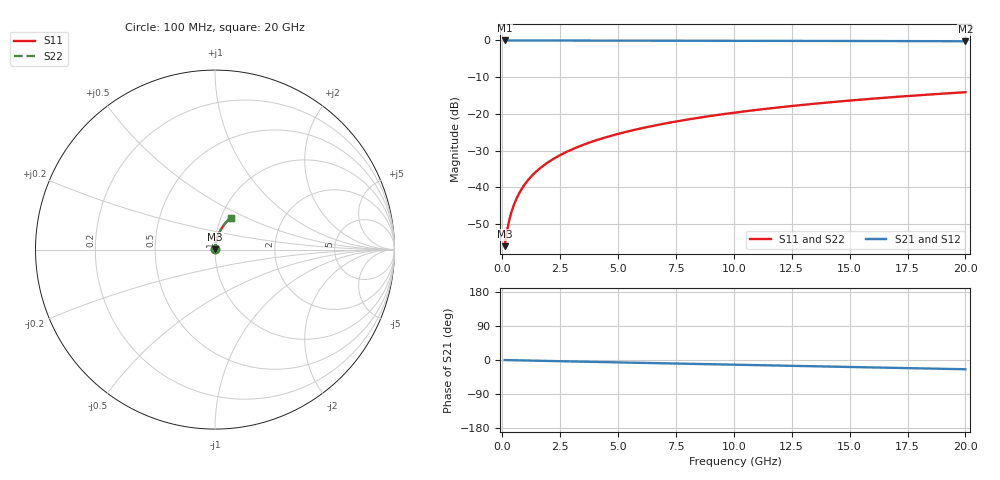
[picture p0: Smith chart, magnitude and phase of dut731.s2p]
! Touchstone file exported from HFSS 2026.1.0
!  File:  C:/ffzhzh/LocalFiles/Ansys_Project_Files/temp_train_BSMRDL_731_1783168546_22436.aedt
!  Generated:  08:36:58 PM Jul  4, 2026
!  Design:  BSMRDL
!  Project:  temp_train_BSMRDL_731_1783168546_22436
! Variables:
!  h_bsmrdl = 5.78um
!  h_ox = 20um
!  h_rdl = 5um
!  h_sub = 80um
!  h_tmrdl = 5um
!  h_tsv = 80um
!  h_via = 3um
!  l_bsmrdl = 355.99um
!  l_sub = 755.99um
!  l_tmrdl = 200um
!  m_sub = 200um
!  pitch = 48.76um
!  r_tsv = 6um
!  s_tmrdl = 10um
!  w_bsmrdl = 26um
!  w_sub = 500um
!  w_tmrdl = 12um
!  x_tsv_center1 = 206um
!  x_tsv_center2 = 587.99um
!  x_tsv_center3 = 799.99um
!  x_tsv_center4 = 1181.98um
!  x_tsv_center5 = 1393.98um
!  x_tsv_center6 = 1775.97um
# GHz S MA R 50.000000
! Terminal data exported
! Port[1] = BSM_RDL1_1_T1
! Port[2] = BSM_RDL1_1_T2
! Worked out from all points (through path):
!   200 points, 100 MHz to 20 GHz, reference 50 ohm
!   highest |S21| = -0.01 dB at 100 MHz (marker M1); lowest = -0.2 dB at 20 GHz (marker M2)
!   group delay of S21, straight-line fit = 3.38 ps
!   lowest |S11| = -56.0 dB at 100 MHz (marker M3), VSWR 1.00, Z = 50.1 + j0.123 ohm
!   |S11| at or under -10 dB: start of sweep to end of sweep
!   |S22| runs from -56.0 to -14.1 dB; largest |S21 - S12| = 3.6e-15
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0.1  0.00159 50.4  0.999 -0.1  0.999 -0.1  0.00159 50.4
! Gamma 0 0 0 0
! Port Impedance 50 0 50 0
0.2  0.002536 67.3  0.9989 -0.3  0.9989 -0.3  0.002538 67.4
0.3  0.003593 74.0  0.9988 -0.4  0.9988 -0.4  0.003595 74.1
0.4  0.004686 77.4  0.9988 -0.5  0.9988 -0.5  0.004689 77.5
0.5  0.005793 79.4  0.9987 -0.6  0.9987 -0.6  0.005796 79.4
0.7  0.008021 81.5  0.9986 -0.9  0.9986 -0.9  0.008024 81.5
0.8  0.009135 82.0  0.9986 -1.0  0.9986 -1.0  0.009138 82.0
1  0.01136 82.7  0.9985 -1.3  0.9985 -1.3  0.01136 82.7
1.2  0.01357 83.0  0.9984 -1.5  0.9984 -1.5  0.01357 83.0
1.4  0.01576 83.1  0.9983 -1.8  0.9983 -1.8  0.01576 83.1
1.7  0.01902 83.1  0.9981 -2.2  0.9981 -2.2  0.01902 83.1
2  0.02225 82.9  0.9979 -2.5  0.9979 -2.5  0.02225 82.9
2.7  0.02968 82.4  0.9974 -3.4  0.9974 -3.4  0.02968 82.4
3.5  0.03805 81.8  0.9968 -4.4  0.9968 -4.4  0.03805 81.8
4.2  0.04531 81.1  0.9962 -5.3  0.9962 -5.3  0.04531 81.1
5  0.05354 80.4  0.9954 -6.3  0.9954 -6.3  0.05354 80.4
6.8  0.07187 78.5  0.9937 -8.5  0.9937 -8.5  0.07187 78.5
8.3  0.08696 76.9  0.9921 -10.3  0.9921 -10.3  0.08696 76.9
10.1  0.1048 75.0  0.9899 -12.5  0.9899 -12.5  0.1048 75.0
13.4  0.1369 71.3  0.9854 -16.5  0.9854 -16.5  0.1369 71.3
16.7  0.1678 67.5  0.98 -20.5  0.98 -20.5  0.1678 67.5
20  0.1975 63.8  0.974 -24.4  0.974 -24.4  0.1975 63.8
